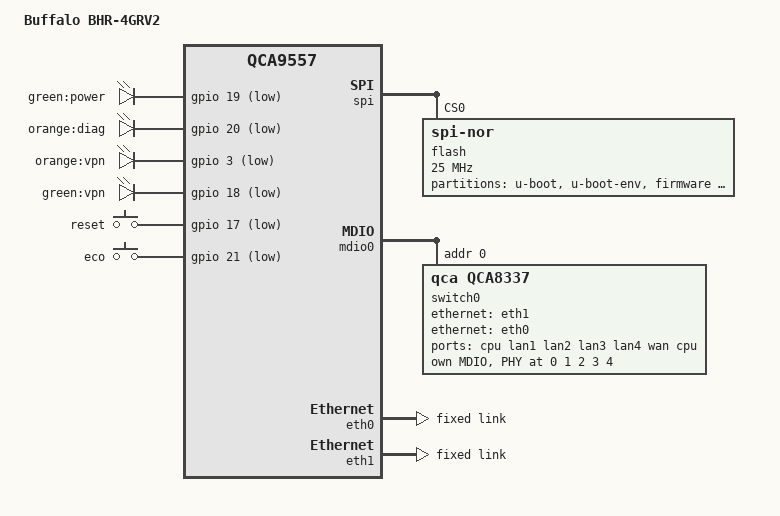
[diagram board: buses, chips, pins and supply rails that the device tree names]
// SPDX-License-Identifier: GPL-2.0-or-later OR MIT

#include "qca955x.dtsi"

#include <dt-bindings/gpio/gpio.h>
#include <dt-bindings/input/input.h>

/ {
	compatible = "buffalo,bhr-4grv2", "qca,qca9557";
	model = "Buffalo BHR-4GRV2";

	aliases {
		led-boot = &led_power;
		led-failsafe = &led_power;
		led-running = &led_power;
		led-upgrade = &led_power;
	};

	leds {
		compatible = "gpio-leds";

		led_power: power {
			label = "green:power";
			gpios = <&gpio 19 GPIO_ACTIVE_LOW>;
			default-state = "on";
		};

		diag {
			label = "orange:diag";
			gpios = <&gpio 20 GPIO_ACTIVE_LOW>;
		};

		vpn_orange {
			label = "orange:vpn";
			gpios = <&gpio 3 GPIO_ACTIVE_LOW>;
		};

		vpn_green {
			label = "green:vpn";
			gpios = <&gpio 18 GPIO_ACTIVE_LOW>;
		};
	};

	keys {
		compatible = "gpio-keys";

		reset {
			label = "reset";
			gpios = <&gpio 17 GPIO_ACTIVE_LOW>;
			linux,code = <KEY_RESTART>;
			debounce-interval = <60>;
		};

		eco {
			label = "eco";
			gpios = <&gpio 21 GPIO_ACTIVE_LOW>;
			linux,code = <BTN_0>;
			linux,input-type = <EV_SW>;
			debounce-interval = <60>;
		};
	};
};

&spi {
	status = "okay";

	flash@0 {
		compatible = "jedec,spi-nor";
		reg = <0>;
		spi-max-frequency = <25000000>;

		partitions {
			compatible = "fixed-partitions";
			#address-cells = <1>;
			#size-cells = <1>;

			partition@0 {
				label = "u-boot";
				reg = <0x000000 0x040000>;
				read-only;
			};

			partition@40000 {
				label = "u-boot-env";
				reg = <0x040000 0x010000>;
			};

			partition@50000 {
				compatible = "denx,uimage";
				label = "firmware";
				reg = <0x050000 0xfa0000>;
			};

			art: partition@ff0000 {
				label = "art";
				reg = <0xff0000 0x010000>;
				read-only;
			};
		};
	};
};

&mdio0 {
	status = "okay";

	switch0@10 {
		compatible = "qca,qca8337";
		#address-cells = <1>;
		#size-cells = <0>;

		reg = <0>;

		ports {
			#address-cells = <1>;
			#size-cells = <0>;

			port@0 {
				reg = <0>;
				label = "cpu";
				ethernet = <&eth1>;
				phy-mode = "sgmii";
				qca,sgmii-rxclk-falling-edge;

				fixed-link {
					speed = <1000>;
					full-duplex;
				};
			};

			port@1 {
				reg = <1>;
				label = "lan1";
				phy-mode = "internal";
				phy-handle = <&phy_port1>;
			};

			port@2 {
				reg = <2>;
				label = "lan2";
				phy-mode = "internal";
				phy-handle = <&phy_port2>;
			};

			port@3 {
				reg = <3>;
				label = "lan3";
				phy-mode = "internal";
				phy-handle = <&phy_port3>;
			};

			port@4 {
				reg = <4>;
				label = "lan4";
				phy-mode = "internal";
				phy-handle = <&phy_port4>;
			};

			port@5 {
				reg = <5>;
				label = "wan";
				phy-mode = "internal";
				phy-handle = <&phy_port5>;
			};

			port@6 {
				reg = <6>;
				label = "cpu";
				ethernet = <&eth0>;
				phy-mode = "rgmii-id";

				fixed-link {
					speed = <1000>;
					full-duplex;
				};
			};
		};

		mdio {
			#address-cells = <1>;
			#size-cells = <0>;

			phy_port1: phy@0 {
				reg = <0>;
			};

			phy_port2: phy@1 {
				reg = <1>;
			};

			phy_port3: phy@2 {
				reg = <2>;
			};

			phy_port4: phy@3 {
				reg = <3>;
			};

			phy_port5: phy@4 {
				reg = <4>;
			};
		};
	};
};

&eth0 {
	status = "okay";

	nvmem-cells = <&macaddr_art_0>;
	nvmem-cell-names = "mac-address";
	pll-data = <0x56000000 0x00000101 0x00001616>;

	fixed-link {
		speed = <1000>;
		full-duplex;
	};
};

&eth1 {
	status = "okay";

	nvmem-cells = <&macaddr_art_6>;
	nvmem-cell-names = "mac-address";
	pll-data = <0x03000101 0x00000101 0x00001616>;

	fixed-link {
		speed = <1000>;
		full-duplex;
	};
};

&art {
	compatible = "nvmem-cells";
	#address-cells = <1>;
	#size-cells = <1>;

	macaddr_art_0: macaddr@0 {
		reg = <0x0 0x6>;
	};

	macaddr_art_6: macaddr@6 {
		reg = <0x6 0x6>;
	};
};
